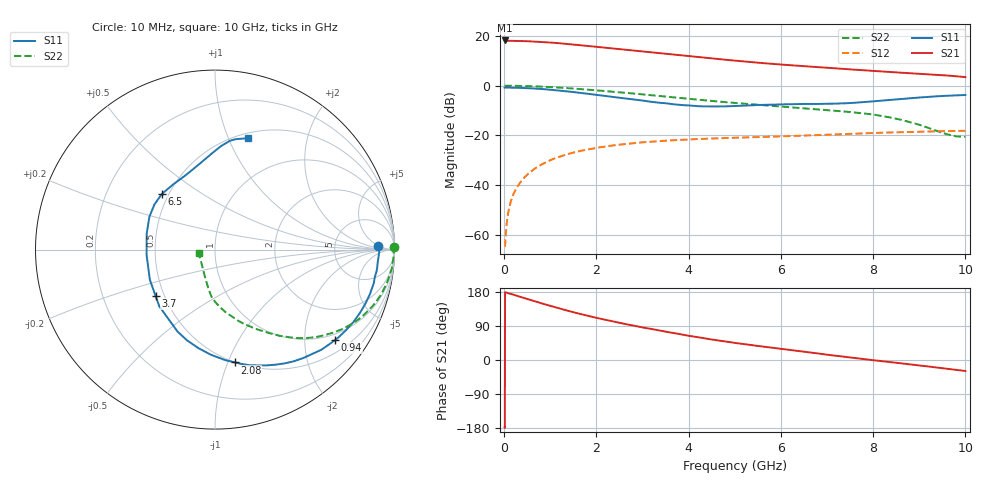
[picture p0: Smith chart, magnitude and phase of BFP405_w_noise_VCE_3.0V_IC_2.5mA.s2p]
! Infineon Technologies  Discrete & RF Semiconductors
! BFP405
! VCE =  3.0 V,  IC =  2.5 mA
! Common Emitter S-Parameters:  Jan 2016
# GHz  S  MA  R  50
!  f  S11  S21  S12  S22
! GHz  MAG  ANG  MAG  ANG  MAG  ANG  MAG  ANG
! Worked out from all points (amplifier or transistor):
!   233 points, 10 MHz to 10 GHz, reference 50 ohm
!   highest |S21| = 18.1 dB at 10 MHz (marker M1)
!   |S21| within 3 dB of that: start of sweep to 2.232 GHz
!   unconditionally stable (mu >= 1): 4.173 GHz to end of sweep
!   at 200 MHz: K = 0.06, MSG = 30.8 dB, |S12| = -43.6 dB
!   at 1.74 GHz: K = 0.36, MSG = 21.0 dB, |S12| = -25.9 dB
!   at 10 GHz: K = 1.62, MAG = 6.2 dB, |S12| = -18.1 dB
!   lowest NFmin = 0.94 dB at 900 MHz
!   S11 on the Smith chart (normalised r, x): 10 MHz: 20, +4; 940 MHz: 0.82, -2.77; 2.08 GHz: 0.50, -1.06; 3.7 GHz: 0.45, -0.28; 6.5 GHz: 0.46, +0.35; 10 GHz: 0.55, +1.19
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0.01  0.9099 1.1  8.053 -177.7  0.0006 39.8  0.9994 0.9
0.02  0.9154 -0.5  7.924 178.7  0.0006 85.0  0.9926 0.1
0.055  0.9125 -2.5  7.891 177.9  0.0017 79.6  0.9957 -0.7
0.09  0.9098 -3.7  7.916 176.2  0.0029 86.1  0.9961 -1.6
0.24  0.9042 -9.3  7.906 170.8  0.0079 84.7  0.9861 -4.8
0.5  0.8904 -19.8  7.781 161.1  0.0163 79.9  0.979 -9.8
0.78  0.8593 -30.8  7.547 150.7  0.0252 74.2  0.9576 -15.2
0.94  0.8372 -37.0  7.385 144.9  0.03 71.0  0.9416 -18.2
1.3  0.7791 -50.8  6.947 132.6  0.0402 64.1  0.8994 -24.6
1.68  0.71 -65.2  6.439 120.6  0.0495 57.1  0.848 -30.6
2.08  0.6381 -80.0  5.893 109.2  0.0579 50.7  0.7925 -36.2
2.7  0.5417 -103.3  5.147 93.2  0.0685 41.9  0.7078 -44.1
3  0.5015 -114.7  4.835 86.0  0.0728 38.1  0.6679 -47.6
3.4  0.45 -130.2  4.437 77.1  0.0775 33.4  0.6147 -51.8
3.7  0.4193 -142.2  4.163 70.6  0.0804 30.2  0.5777 -55.0
4  0.4001 -155.1  3.915 63.9  0.0832 27.2  0.5427 -58.2
4.5  0.3824 -175.9  3.52 54.1  0.087 22.8  0.4919 -63.3
5.1  0.3927 164.0  3.11 43.6  0.0905 18.3  0.4415 -69.0
6.5  0.4288 133.6  2.462 21.8  0.0994 10.9  0.3521 -80.6
6.8  0.4285 126.9  2.348 17.3  0.1019 9.3  0.3345 -83.0
8.4  0.5203 94.2  1.866 -5.9  0.1149 -0.7  0.2266 -98.7
10  0.6485 73.3  1.483 -29.0  0.1241 -10.1  0.0937 -168.1
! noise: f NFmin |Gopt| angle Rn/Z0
0.9  0.94  0.53  14  0.37
1.8  1.25  0.42  26  0.35
2.4  1.45  0.36  35  0.34
3  1.48  0.34  51  0.32
4  1.69  0.22  76  0.25
5  2.05  0.17  117  0.21
